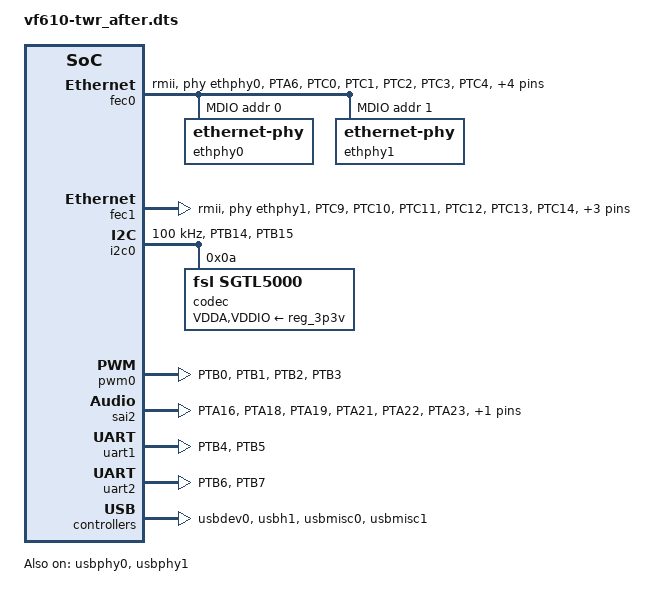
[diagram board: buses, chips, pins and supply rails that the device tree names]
&fec0 {
	phy-mode = "rmii";
	phy-handle = <&ethphy0>;
	pinctrl-names = "default";
	pinctrl-0 = <&pinctrl_fec0>;
	status = "okay";

	mdio {
		#address-cells = <1>;
		#size-cells = <0>;

		ethphy0: ethernet-phy@0 {
			reg = <0>;
		};

		ethphy1: ethernet-phy@1 {
			reg = <1>;
		};
	};
};

&fec1 {
	phy-mode = "rmii";
	phy-handle = <&ethphy1>;
	pinctrl-names = "default";
	pinctrl-0 = <&pinctrl_fec1>;
	status = "okay";
};

&i2c0 {
	clock-frequency = <100000>;
	pinctrl-names = "default";
	pinctrl-0 = <&pinctrl_i2c0>;
	status = "okay";

	codec: sgtl5000@0a {
	       #sound-dai-cells = <0>;
	       compatible = "fsl,sgtl5000";
	       reg = <0x0a>;
	       VDDA-supply = <&reg_3p3v>;
	       VDDIO-supply = <&reg_3p3v>;
	       clocks = <&clks VF610_CLK_SAI2>;
       };
};

&iomuxc {
	vf610-twr {
		pinctrl_adc0_ad5: adc0ad5grp {
			fsl,pins = <
				VF610_PAD_PTC30__ADC0_SE5		0xa1
			>;
		};

		pinctrl_dspi0: dspi0grp {
			fsl,pins = <
				VF610_PAD_PTB19__DSPI0_CS0		0x1182
				VF610_PAD_PTB20__DSPI0_SIN		0x1181
				VF610_PAD_PTB21__DSPI0_SOUT		0x1182
				VF610_PAD_PTB22__DSPI0_SCK		0x1182
			>;
		};

		pinctrl_esdhc1: esdhc1grp {
			fsl,pins = <
				VF610_PAD_PTA24__ESDHC1_CLK	0x31ef
				VF610_PAD_PTA25__ESDHC1_CMD	0x31ef
				VF610_PAD_PTA26__ESDHC1_DAT0	0x31ef
				VF610_PAD_PTA27__ESDHC1_DAT1	0x31ef
				VF610_PAD_PTA28__ESDHC1_DATA2	0x31ef
				VF610_PAD_PTA29__ESDHC1_DAT3	0x31ef
				VF610_PAD_PTA7__GPIO_134	0x219d
			>;
		};

		pinctrl_fec0: fec0grp {
			fsl,pins = <
				VF610_PAD_PTA6__RMII_CLKIN		0x30d1
				VF610_PAD_PTC0__ENET_RMII0_MDC		0x30d3
				VF610_PAD_PTC1__ENET_RMII0_MDIO		0x30d1
				VF610_PAD_PTC2__ENET_RMII0_CRS		0x30d1
				VF610_PAD_PTC3__ENET_RMII0_RXD1		0x30d1
				VF610_PAD_PTC4__ENET_RMII0_RXD0		0x30d1
				VF610_PAD_PTC5__ENET_RMII0_RXER		0x30d1
				VF610_PAD_PTC6__ENET_RMII0_TXD1		0x30d2
				VF610_PAD_PTC7__ENET_RMII0_TXD0		0x30d2
				VF610_PAD_PTC8__ENET_RMII0_TXEN		0x30d2
			>;
		};

		pinctrl_fec1: fec1grp {
			fsl,pins = <
				VF610_PAD_PTC9__ENET_RMII1_MDC		0x30d2
				VF610_PAD_PTC10__ENET_RMII1_MDIO	0x30d3
				VF610_PAD_PTC11__ENET_RMII1_CRS		0x30d1
				VF610_PAD_PTC12__ENET_RMII_RXD1		0x30d1
				VF610_PAD_PTC13__ENET_RMII1_RXD0	0x30d1
				VF610_PAD_PTC14__ENET_RMII1_RXER	0x30d1
				VF610_PAD_PTC15__ENET_RMII1_TXD1	0x30d2
				VF610_PAD_PTC16__ENET_RMII1_TXD0	0x30d2
				VF610_PAD_PTC17__ENET_RMII1_TXEN	0x30d2
			>;
		};

		pinctrl_i2c0: i2c0grp {
			fsl,pins = <
				VF610_PAD_PTB14__I2C0_SCL		0x30d3
				VF610_PAD_PTB15__I2C0_SDA		0x30d3
			>;
		};

		pinctrl_pwm0: pwm0grp {
			fsl,pins = <
				VF610_PAD_PTB0__FTM0_CH0		0x1582
				VF610_PAD_PTB1__FTM0_CH1		0x1582
				VF610_PAD_PTB2__FTM0_CH2		0x1582
				VF610_PAD_PTB3__FTM0_CH3		0x1582
			>;
		};

		pinctrl_sai2: sai2grp {
			fsl,pins = <
				VF610_PAD_PTA16__SAI2_TX_BCLK		0x02ed
				VF610_PAD_PTA18__SAI2_TX_DATA		0x02ee
				VF610_PAD_PTA19__SAI2_TX_SYNC		0x02ed
				VF610_PAD_PTA21__SAI2_RX_BCLK		0x02ed
				VF610_PAD_PTA22__SAI2_RX_DATA		0x02ed
				VF610_PAD_PTA23__SAI2_RX_SYNC		0x02ed
				VF610_PAD_PTB18__EXT_AUDIO_MCLK		0x02ed
			>;
		};

		pinctrl_uart1: uart1grp {
			fsl,pins = <
				VF610_PAD_PTB4__UART1_TX		0x21a2
				VF610_PAD_PTB5__UART1_RX		0x21a1
			>;
		};

		pinctrl_uart2: uart2grp {
			fsl,pins = <
				VF610_PAD_PTB6__UART2_TX		0x21a2
				VF610_PAD_PTB7__UART2_RX		0x21a1
			>;
		};
	};
};

&pwm0 {
	pinctrl-names = "default";
	pinctrl-0 = <&pinctrl_pwm0>;
	status = "okay";
};

&sai2 {
	#sound-dai-cells = <0>;
	pinctrl-names = "default";
	pinctrl-0 = <&pinctrl_sai2>;
	status = "okay";
};

&uart1 {
	pinctrl-names = "default";
	pinctrl-0 = <&pinctrl_uart1>;
	status = "okay";
};

&uart2 {
	pinctrl-names = "default";
	pinctrl-0 = <&pinctrl_uart2>;
	status = "okay";
};

&usbdev0 {
	disable-over-current;
	status = "okay";
};

&usbh1 {
	disable-over-current;
	status = "okay";
};

&usbmisc0 {
	status = "okay";
};

&usbmisc1 {
	status = "okay";
};

&usbphy0 {
	status = "okay";
};

&usbphy1 {
	status = "okay";
};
